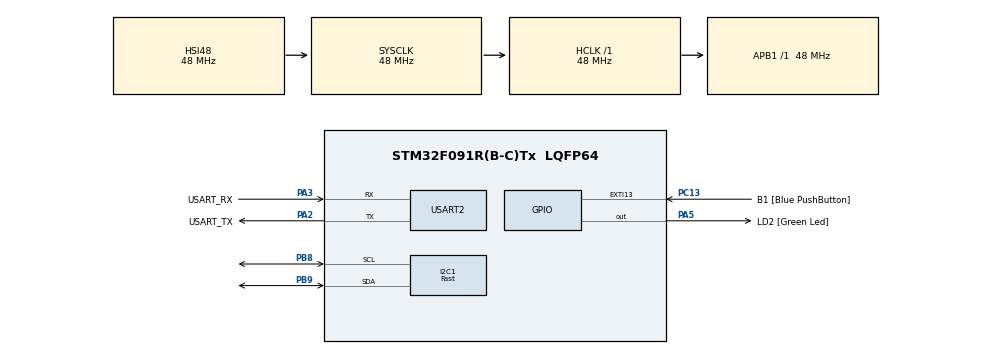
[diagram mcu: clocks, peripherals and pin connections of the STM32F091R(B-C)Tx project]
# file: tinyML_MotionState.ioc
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I2C1.I2C_Speed_Mode=I2C_Fast
I2C1.Timing=0x0090194B
IWDG.Prescaler=IWDG_PRESCALER_16
IWDG.Reload=2500
Mcu.Family=STM32F0
Mcu.Name=STM32F091R(B-C)Tx
Mcu.Package=LQFP64
NVIC.TIM2_IRQn=true\:0\:0\:false\:false\:true\:true\:true\:true
NVIC.USART2_IRQn=true\:0\:0\:false\:false\:true\:true\:true\:true
PA13.GPIO_Label=TMS
PA13.Mode=Serial_Wire
PA13.Signal=SYS_SWDIO
PA14.GPIO_Label=TCK
PA14.Mode=Serial_Wire
PA14.Signal=SYS_SWCLK
PA2.GPIO_Label=USART_TX
PA2.GPIO_Mode=GPIO_MODE_AF_PP
PA2.GPIO_PuPd=GPIO_NOPULL
PA2.GPIO_Speed=GPIO_SPEED_FREQ_LOW
PA2.Mode=Asynchronous
PA2.Signal=USART2_TX
PA3.GPIO_Label=USART_RX
PA3.GPIO_Mode=GPIO_MODE_AF_PP
PA3.GPIO_PuPd=GPIO_NOPULL
PA3.GPIO_Speed=GPIO_SPEED_FREQ_LOW
PA3.Mode=Asynchronous
PA3.Signal=USART2_RX
PA5.GPIO_Label=LD2 [Green Led]
PA5.GPIO_Mode=GPIO_MODE_OUTPUT_PP
PA5.GPIO_PuPd=GPIO_NOPULL
PA5.GPIO_Speed=GPIO_SPEED_FREQ_LOW
PA5.Signal=GPIO_Output
PB8.GPIO_FM8=SYSCFG_CFGR1_I2C_FMP_PB8
PB8.GPIO_Pu=GPIO_PULLUP
PB8.Mode=I2C
PB8.Signal=I2C1_SCL
PB9.GPIO_FM9=SYSCFG_CFGR1_I2C_FMP_PB9
PB9.GPIO_Pu=GPIO_PULLUP
PB9.Mode=I2C
PB9.Signal=I2C1_SDA
PC13.GPIO_Label=B1 [Blue PushButton]
PC13.GPIO_ModeDefaultEXTI=GPIO_MODE_IT_FALLING
PC13.Signal=GPXTI13
PC14OSC32_IN.Signal=RCC_OSC32_IN
PC15OSC32_OUT.Signal=RCC_OSC32_OUT
PF0-OSC_IN.Signal=RCC_OSC_IN
PF1-OSC_OUT.Signal=RCC_OSC_OUT
ProjectManager.HeapSize=0x200
ProjectManager.StackSize=0x400
ProjectManager.TargetToolchain=STM32CubeIDE
RCC.AHBFreq_Value=48000000
RCC.APB1Freq_Value=48000000
RCC.APB1TimFreq_Value=48000000
RCC.FLatency-AdvancedSettings=FLASH_LATENCY_1
RCC.HCLKFreq_Value=48000000
RCC.I2c1ClockSelection=RCC_I2C1CLKSOURCE_SYSCLK
RCC.PLLMUL=RCC_PLL_MUL12
RCC.PREFETCH_ENABLE-AdvancedSettings=1
RCC.SYSCLKFreq_VALUE=48000000
RCC.SYSCLKSource=RCC_SYSCLKSOURCE_HSI48
TIM2.Period=49
TIM2.Prescaler=47999
USART2.VirtualMode=VM_ASYNC
USART2.VirtualMode-Asynchronous=VM_ASYNC
VP_IWDG_VS_IWDG.Mode=IWDG_Activate
VP_TIM2_VS_ClockSourceINT.Mode=Internal
board=NUCLEO-F091RC

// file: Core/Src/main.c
/* USER CODE BEGIN Header */
/**
 ******************************************************************************
 * @file           : main.c
 * @brief          : Main program body
 ******************************************************************************
 * @attention
 *
 * Copyright (c) 2026 STMicroelectronics.
 * All rights reserved.
 *
 * This software is licensed under terms that can be found in the LICENSE file
 * in the root directory of this software component.
 * If no LICENSE file comes with this software, it is provided AS-IS.
 *
 ******************************************************************************
 */
/* USER CODE END Header */
#include "main.h"

/* USER CODE BEGIN Includes */
#include "button.h"
#include "led.h"
#include "model.h"
#include "motion_features.h"
#include "motion_meta.h"
#include "motion_sample.h"
#include "sensors.h"
#include "sm.h"
#include "uart_cmd.h"
#include <stdbool.h>
#include <stdio.h>
/* USER CODE END Includes */

/* USER CODE BEGIN PD */
#define RCC_CSR_ADDR 0x40021024UL
#define IWDGRSTF_MASK (1UL << 29)
#define RMVF_MASK (1UL << 24)
/* USER CODE END PD */

/* USER CODE BEGIN PM */
Events event = NO_EVENT;
/* USER CODE END PM */

I2C_HandleTypeDef hi2c1;

IWDG_HandleTypeDef hiwdg;

TIM_HandleTypeDef htim2;

UART_HandleTypeDef huart2;

void SystemClock_Config(void);
static void MX_GPIO_Init(void);
static void MX_USART2_UART_Init(void);
static void MX_I2C1_Init(void);
static void MX_TIM2_Init(void);
static void MX_IWDG_Init(void);

/* USER CODE BEGIN 0 */

volatile bool LSM6DSV16X_sample_due = false;
volatile bool LPS22DF_sample_due = false;
volatile bool led_tick_due = false;
void HAL_TIM_PeriodElapsedCallback(TIM_HandleTypeDef *htim)
{
    LSM6DSV16X_sample_due = true;
    LPS22DF_sample_due = true;
    led_tick_due = true;
}

void HAL_UART_RxCpltCallback(UART_HandleTypeDef *huart)
{
    UartCmd_RxCompleteCallback(huart);
}
/* USER CODE END 0 */

int main(void)
{

    /* MCU Configuration--------------------------------------------------------*/

    /* Reset of all peripherals, Initializes the Flash interface and the Systick. */
    HAL_Init();
    MX_IWDG_Init();

    sm_dispatch(EVENT_BOOT);

    /* Configure the system clock */
    SystemClock_Config();

    /* Initialize all configured peripherals */
    MX_GPIO_Init();
    MX_USART2_UART_Init();
    MX_I2C1_Init();
    MX_TIM2_Init();
    /* USER CODE BEGIN 2 */
    HAL_TIM_Base_Start_IT(&htim2);
    Button_Init();
    Led_Init();

    uint32_t csr = *(volatile uint32_t *)RCC_CSR_ADDR;
    if ((csr & IWDGRSTF_MASK) != 0U)
    {
        UartCmd_PrintGeneral("IWDG reset complete\r\n");
        *(volatile uint32_t *)RCC_CSR_ADDR |= RMVF_MASK;
    }

    // refresh watchdog after peripherals init
    if (HAL_IWDG_Refresh(&hiwdg) != HAL_OK)
    {
        Error_Handler();
    }

    sm_dispatch(EVENT_BOOT_SUCCESS);

    sm_dispatch(EVENT_SENSOR_INIT);

    // refresh watchdog after sensor init
    if (HAL_IWDG_Refresh(&hiwdg) != HAL_OK)
    {
        Error_Handler();
    }

    sm_dispatch(EVENT_SENSOR_INIT_SUCCESS);

    UartCmd_Init();
    // LSM6DSV16X_Sample *_LSM6DSV16X_Sample = NULL;
    // float LPS22DF_Sample = 0;
    static uint32_t data_print_interval_ms = 50;
    static uint32_t data_print_counter_ms;
    // Motion_Sample _Motion_Sample;
    // double *features;

    /* USER CODE END 2 */

    /* Infinite loop */
    /* USER CODE BEGIN WHILE */
    while (1)
    {
        Button_Update();
        if (Button_WasPressed())
        {
            Led_NextMode();
            UartCmd_PrintStatus();
        }
        UartCmd_ProcessPending();

        if (led_tick_due)
        {
            led_tick_due = false;
            Led_TimerTick();
        }

        if (LSM6DSV16X_sample_due && LPS22DF_sample_due)
        {
            LSM6DSV16X_sample_due = false;
            LPS22DF_sample_due = false;
            data_print_counter_ms += 20;

            if (data_print_counter_ms >= data_print_interval_ms)
            {
                data_print_counter_ms = 0;

                sm_dispatch(EVENT_DATA_READ);

                // refresh watchdog after data read
                if (HAL_IWDG_Refresh(&hiwdg) != HAL_OK)
                {
                    Error_Handler();
                }

                sm_dispatch(EVENT_CHECK_BUFFER);

                //_LSM6DSV16X_Sample = LSM6DSV16X_ReadData();
                // LPS22DF_Sample = LPS22DF_ReadData();

                // _Motion_Sample.a_x = _LSM6DSV16X_Sample_Ptr->ax_g;
                // _Motion_Sample.a_y = _LSM6DSV16X_Sample_Ptr->ay_g;
                // _Motion_Sample.a_z = _LSM6DSV16X_Sample_Ptr->az_g;
                // _Motion_Sample.dps_x = _LSM6DSV16X_Sample_Ptr->dps_x;
                // _Motion_Sample.dps_y = _LSM6DSV16X_Sample_Ptr->dps_y;
                // _Motion_Sample.dps_z = _LSM6DSV16X_Sample_Ptr->dps_z;

                // MotionBuffer_AddSample(_Motion_Sample);

                if (_BufferReadyToClassify == READY)
                {
                    sm_dispatch(EVENT_CLASSIFY);
                }

                // refresh watchdog after classify
                if (HAL_IWDG_Refresh(&hiwdg) != HAL_OK)
                {
                    Error_Handler();
                }

                //
                //                Motion_Sample *ordered_window = MotionBuffer_OrderedWindow();
                //
                //                features = MotionFeatures_Extract(ordered_window);
                //
                //                int32_t class_id = MotionModel_Predict(features);
                //                const char *class_name = MotionModel_ClassName(class_id);
                //                UartCmd_PrintPrediction(class_name);
                //                MotionBuffer_MarkClassified();

                // UartCmd_PrintSensorDataCSV(_LSM6DSV16X_Sample, LPS22DF_Sample);
            }
        }

        // UartCmd_PrintPrediction(class_name);
        /* USER CODE END WHILE */

    }
}

void SystemClock_Config(void)
{
    RCC_OscInitTypeDef RCC_OscInitStruct = {0};
    RCC_ClkInitTypeDef RCC_ClkInitStruct = {0};
    RCC_PeriphCLKInitTypeDef PeriphClkInit = {0};

    /** Initializes the RCC Oscillators according to the specified parameters
     * in the RCC_OscInitTypeDef structure.
     */
    RCC_OscInitStruct.OscillatorType = RCC_OSCILLATORTYPE_HSI48 | RCC_OSCILLATORTYPE_LSI;
    RCC_OscInitStruct.HSI48State = RCC_HSI48_ON;
    RCC_OscInitStruct.LSIState = RCC_LSI_ON;
    RCC_OscInitStruct.PLL.PLLState = RCC_PLL_NONE;
    if (HAL_RCC_OscConfig(&RCC_OscInitStruct) != HAL_OK)
    {
        Error_Handler();
    }

    /** Initializes the CPU, AHB and APB buses clocks
     */
    RCC_ClkInitStruct.ClockType = RCC_CLOCKTYPE_HCLK | RCC_CLOCKTYPE_SYSCLK | RCC_CLOCKTYPE_PCLK1;
    RCC_ClkInitStruct.SYSCLKSource = RCC_SYSCLKSOURCE_HSI48;
    RCC_ClkInitStruct.AHBCLKDivider = RCC_SYSCLK_DIV1;
    RCC_ClkInitStruct.APB1CLKDivider = RCC_HCLK_DIV1;

    if (HAL_RCC_ClockConfig(&RCC_ClkInitStruct, FLASH_LATENCY_1) != HAL_OK)
    {
        Error_Handler();
    }
    PeriphClkInit.PeriphClockSelection = RCC_PERIPHCLK_USART2 | RCC_PERIPHCLK_I2C1;
    PeriphClkInit.Usart2ClockSelection = RCC_USART2CLKSOURCE_PCLK1;
    PeriphClkInit.I2c1ClockSelection = RCC_I2C1CLKSOURCE_SYSCLK;
    if (HAL_RCCEx_PeriphCLKConfig(&PeriphClkInit) != HAL_OK)
    {
        Error_Handler();
    }
}

static void MX_I2C1_Init(void)
{

    hi2c1.Instance = I2C1;
    hi2c1.Init.Timing = 0x0090194B;
    hi2c1.Init.OwnAddress1 = 0;
    hi2c1.Init.AddressingMode = I2C_ADDRESSINGMODE_7BIT;
    hi2c1.Init.DualAddressMode = I2C_DUALADDRESS_DISABLE;
    hi2c1.Init.OwnAddress2 = 0;
    hi2c1.Init.OwnAddress2Masks = I2C_OA2_NOMASK;
    hi2c1.Init.GeneralCallMode = I2C_GENERALCALL_DISABLE;
    hi2c1.Init.NoStretchMode = I2C_NOSTRETCH_DISABLE;
    if (HAL_I2C_Init(&hi2c1) != HAL_OK)
    {
        Error_Handler();
    }

    /** Configure Analogue filter
     */
    if (HAL_I2CEx_ConfigAnalogFilter(&hi2c1, I2C_ANALOGFILTER_ENABLE) != HAL_OK)
    {
        Error_Handler();
    }

    /** Configure Digital filter
     */
    if (HAL_I2CEx_ConfigDigitalFilter(&hi2c1, 0) != HAL_OK)
    {
        Error_Handler();
    }
}

static void MX_IWDG_Init(void)
{

    hiwdg.Instance = IWDG;
    hiwdg.Init.Prescaler = IWDG_PRESCALER_16;
    hiwdg.Init.Window = 4095;
    hiwdg.Init.Reload = 2500;
    if (HAL_IWDG_Init(&hiwdg) != HAL_OK)
    {
        Error_Handler();
    }
}

static void MX_TIM2_Init(void)
{

    TIM_ClockConfigTypeDef sClockSourceConfig = {0};
    TIM_MasterConfigTypeDef sMasterConfig = {0};

    htim2.Instance = TIM2;
    htim2.Init.Prescaler = 47999;
    htim2.Init.CounterMode = TIM_COUNTERMODE_UP;
    htim2.Init.Period = 49;
    htim2.Init.ClockDivision = TIM_CLOCKDIVISION_DIV1;
    htim2.Init.AutoReloadPreload = TIM_AUTORELOAD_PRELOAD_DISABLE;
    if (HAL_TIM_Base_Init(&htim2) != HAL_OK)
    {
        Error_Handler();
    }
    sClockSourceConfig.ClockSource = TIM_CLOCKSOURCE_INTERNAL;
    if (HAL_TIM_ConfigClockSource(&htim2, &sClockSourceConfig) != HAL_OK)
    {
        Error_Handler();
    }
    sMasterConfig.MasterOutputTrigger = TIM_TRGO_RESET;
    sMasterConfig.MasterSlaveMode = TIM_MASTERSLAVEMODE_DISABLE;
    if (HAL_TIMEx_MasterConfigSynchronization(&htim2, &sMasterConfig) != HAL_OK)
    {
        Error_Handler();
    }
}

static void MX_USART2_UART_Init(void)
{

    huart2.Instance = USART2;
    huart2.Init.BaudRate = 115200;
    huart2.Init.WordLength = UART_WORDLENGTH_8B;
    huart2.Init.StopBits = UART_STOPBITS_1;
    huart2.Init.Parity = UART_PARITY_NONE;
    huart2.Init.Mode = UART_MODE_TX_RX;
    huart2.Init.HwFlowCtl = UART_HWCONTROL_NONE;
    huart2.Init.OverSampling = UART_OVERSAMPLING_16;
    huart2.Init.OneBitSampling = UART_ONE_BIT_SAMPLE_DISABLE;
    huart2.AdvancedInit.AdvFeatureInit = UART_ADVFEATURE_NO_INIT;
    if (HAL_UART_Init(&huart2) != HAL_OK)
    {
        Error_Handler();
    }
}

static void MX_GPIO_Init(void)
{
    GPIO_InitTypeDef GPIO_InitStruct = {0};

    /* GPIO Ports Clock Enable */
    __HAL_RCC_GPIOC_CLK_ENABLE();
    __HAL_RCC_GPIOF_CLK_ENABLE();
    __HAL_RCC_GPIOA_CLK_ENABLE();
    __HAL_RCC_GPIOB_CLK_ENABLE();

    /*Configure GPIO pin Output Level */
    HAL_GPIO_WritePin(LD2_GPIO_Port, LD2_Pin, GPIO_PIN_RESET);

    /*Configure GPIO pin : B1_Pin */
    GPIO_InitStruct.Pin = B1_Pin;
    GPIO_InitStruct.Mode = GPIO_MODE_IT_FALLING;
    GPIO_InitStruct.Pull = GPIO_NOPULL;
    HAL_GPIO_Init(B1_GPIO_Port, &GPIO_InitStruct);

    /*Configure GPIO pin : LD2_Pin */
    GPIO_InitStruct.Pin = LD2_Pin;
    GPIO_InitStruct.Mode = GPIO_MODE_OUTPUT_PP;
    GPIO_InitStruct.Pull = GPIO_NOPULL;
    GPIO_InitStruct.Speed = GPIO_SPEED_FREQ_LOW;
    HAL_GPIO_Init(LD2_GPIO_Port, &GPIO_InitStruct);

}

void Error_Handler(void)
{
    /* USER CODE BEGIN Error_Handler_Debug */
    /* User can add his own implementation to report the HAL error return state */
    __disable_irq();
    event = EVENT_ERROR;
    sm_dispatch(event);
    while (1)
    {
    }
    /* USER CODE END Error_Handler_Debug */
}
